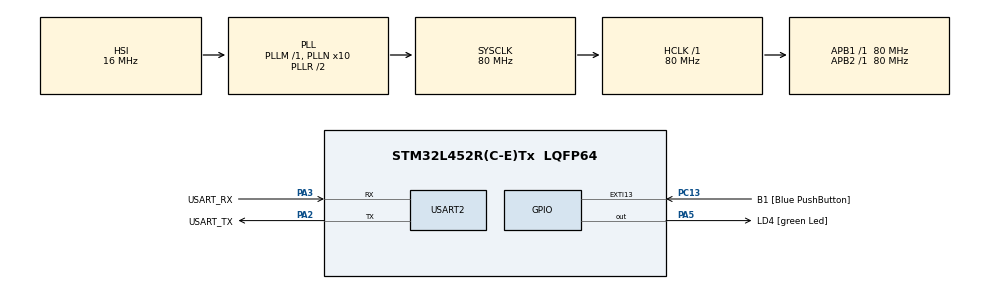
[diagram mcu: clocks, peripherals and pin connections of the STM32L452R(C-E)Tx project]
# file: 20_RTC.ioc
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Mcu.Family=STM32L4
Mcu.Name=STM32L452R(C-E)Tx
Mcu.Package=LQFP64
NVIC.PriorityGroup=NVIC_PRIORITYGROUP_4
PA13\ (JTMS/SWDIO).GPIO_Label=TMS
PA13\ (JTMS/SWDIO).Mode=Serial_Wire
PA13\ (JTMS/SWDIO).Signal=SYS_JTMS-SWDIO
PA14\ (JTCK/SWCLK).GPIO_Label=TCK
PA14\ (JTCK/SWCLK).Mode=Serial_Wire
PA14\ (JTCK/SWCLK).Signal=SYS_JTCK-SWCLK
PA2.GPIO_Label=USART_TX
PA2.GPIO_Mode=GPIO_MODE_AF_PP
PA2.GPIO_PuPd=GPIO_NOPULL
PA2.GPIO_Speed=GPIO_SPEED_FREQ_VERY_HIGH
PA2.Mode=Asynchronous
PA2.Signal=USART2_TX
PA3.GPIO_Label=USART_RX
PA3.GPIO_Mode=GPIO_MODE_AF_PP
PA3.GPIO_PuPd=GPIO_NOPULL
PA3.GPIO_Speed=GPIO_SPEED_FREQ_VERY_HIGH
PA3.Mode=Asynchronous
PA3.Signal=USART2_RX
PA5.GPIO_Label=LD4 [green Led]
PA5.GPIO_ModeDefaultOutputPP=GPIO_MODE_OUTPUT_PP
PA5.GPIO_PuPd=GPIO_NOPULL
PA5.GPIO_Speed=GPIO_SPEED_FREQ_LOW
PA5.Signal=GPIO_Output
PB3\ (JTDO/TRACESWO).GPIO_Label=SWO
PB3\ (JTDO/TRACESWO).Signal=SYS_JTDO-SWO
PC13.GPIO_Label=B1 [Blue PushButton]
PC13.GPIO_ModeDefaultEXTI=GPIO_MODE_IT_FALLING
PC13.GPIO_PuPd=GPIO_NOPULL
PC13.Signal=GPXTI13
PC14-OSC32_IN\ (PC14).Mode=LSE-External-Oscillator
PC14-OSC32_IN\ (PC14).Signal=RCC_OSC32_IN
PC15-OSC32_OUT\ (PC15).Mode=LSE-External-Oscillator
PC15-OSC32_OUT\ (PC15).Signal=RCC_OSC32_OUT
PH0-OSC_IN\ (PH0).Signal=RCC_OSC_IN
PH1-OSC_OUT\ (PH1).Signal=RCC_OSC_OUT
ProjectManager.HeapSize=0x200
ProjectManager.StackSize=0x400
ProjectManager.TargetToolchain=STM32CubeIDE
RCC.ADCFreq_Value=64000000
RCC.AHBFreq_Value=80000000
RCC.APB1Freq_Value=80000000
RCC.APB1TimFreq_Value=80000000
RCC.APB2Freq_Value=80000000
RCC.APB2TimFreq_Value=80000000
RCC.CortexFreq_Value=80000000
RCC.HCLKFreq_Value=80000000
RCC.HSE_VALUE=8000000
RCC.HSI48_VALUE=48000000
RCC.HSI_VALUE=16000000
RCC.MSI_VALUE=4000000
RCC.PLLN=10
RCC.PLLSourceVirtual=RCC_PLLSOURCE_HSI
RCC.PREFETCH_ENABLE=1
RCC.RTCClockSelection=RCC_RTCCLKSOURCE_LSE
RCC.SYSCLKFreq_VALUE=80000000
RCC.SYSCLKSource=RCC_SYSCLKSOURCE_PLLCLK
RCC.USBFreq_Value=64000000
RCC.VCOOutputFreq_Value=160000000
USART2.VirtualMode-Asynchronous=VM_ASYNC
VP_RTC_VS_RTC_Activate.Mode=RTC_Enabled
board=NUCLEO-L452RE

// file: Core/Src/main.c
/* USER CODE BEGIN Header */
/**
  ******************************************************************************
  * @file           : main.c
  * @brief          : Main program body
  ******************************************************************************
  * @attention
  *
  * Copyright (c) 2022 STMicroelectronics.
  * All rights reserved.
  *
  * This software is licensed under terms that can be found in the LICENSE file
  * in the root directory of this software component.
  * If no LICENSE file comes with this software, it is provided AS-IS.
  *
  ******************************************************************************
  */
/* USER CODE END Header */
#include "main.h"

/* USER CODE BEGIN Includes */
#include "stdio.h"

/* USER CODE END Includes */

RTC_HandleTypeDef hrtc;

UART_HandleTypeDef huart2;

void SystemClock_Config(void);
static void MX_GPIO_Init(void);
static void MX_USART2_UART_Init(void);
static void MX_RTC_Init(void);

int main(void)
{

  /* MCU Configuration--------------------------------------------------------*/

  /* Reset of all peripherals, Initializes the Flash interface and the Systick. */
  HAL_Init();

  /* Configure the system clock */
  SystemClock_Config();

  /* Initialize all configured peripherals */
  MX_GPIO_Init();
  MX_USART2_UART_Init();
  MX_RTC_Init();

  /* Infinite loop */
  /* USER CODE BEGIN WHILE */
  RTC_TimeTypeDef time_now =
  {
      .Hours = 21,
      .Minutes = 0,
      .Seconds = 0
  };
  RTC_DateTypeDef date_now =
  {
      .WeekDay = 5,
      .Month = 9,
      .Year = 22
  };
  char buf_time[80];
  char buf_date[80];
  unsigned buf_time_len;
  unsigned buf_date_len;

  HAL_RTC_SetDate(&hrtc, &date_now, RTC_FORMAT_BIN);
  HAL_RTC_SetTime(&hrtc, &time_now, RTC_FORMAT_BIN);

  while (1)
  {
    HAL_RTC_GetTime(&hrtc, &time_now,  RTC_FORMAT_BIN);
    HAL_RTC_GetDate(&hrtc, &date_now, RTC_FORMAT_BIN);

    buf_time_len = snprintf(buf_time, sizeof(buf_time),
        "%02u:%02u:%02u <--> ", time_now.Hours,
        time_now.Minutes, time_now.Seconds);

    buf_date_len = snprintf(buf_date, sizeof(buf_date),
            "%02u/%02u/%02u\n\r", date_now.WeekDay,
            date_now.Month, date_now.Year);

    HAL_UART_Transmit(&huart2, (uint8_t *)buf_time, buf_time_len, 100);
    HAL_UART_Transmit(&huart2, (uint8_t *)buf_date, buf_date_len, 100);

    HAL_Delay(1000);
    /* USER CODE END WHILE */

  }
}

void SystemClock_Config(void)
{
  RCC_OscInitTypeDef RCC_OscInitStruct = {0};
  RCC_ClkInitTypeDef RCC_ClkInitStruct = {0};

  /** Configure the main internal regulator output voltage
  */
  if (HAL_PWREx_ControlVoltageScaling(PWR_REGULATOR_VOLTAGE_SCALE1) != HAL_OK)
  {
    Error_Handler();
  }

  /** Configure LSE Drive Capability
  */
  HAL_PWR_EnableBkUpAccess();
  __HAL_RCC_LSEDRIVE_CONFIG(RCC_LSEDRIVE_LOW);

  /** Initializes the RCC Oscillators according to the specified parameters
  * in the RCC_OscInitTypeDef structure.
  */
  RCC_OscInitStruct.OscillatorType = RCC_OSCILLATORTYPE_HSI|RCC_OSCILLATORTYPE_LSE;
  RCC_OscInitStruct.LSEState = RCC_LSE_ON;
  RCC_OscInitStruct.HSIState = RCC_HSI_ON;
  RCC_OscInitStruct.HSICalibrationValue = RCC_HSICALIBRATION_DEFAULT;
  RCC_OscInitStruct.PLL.PLLState = RCC_PLL_ON;
  RCC_OscInitStruct.PLL.PLLSource = RCC_PLLSOURCE_HSI;
  RCC_OscInitStruct.PLL.PLLM = 1;
  RCC_OscInitStruct.PLL.PLLN = 10;
  RCC_OscInitStruct.PLL.PLLP = RCC_PLLP_DIV7;
  RCC_OscInitStruct.PLL.PLLQ = RCC_PLLQ_DIV2;
  RCC_OscInitStruct.PLL.PLLR = RCC_PLLR_DIV2;
  if (HAL_RCC_OscConfig(&RCC_OscInitStruct) != HAL_OK)
  {
    Error_Handler();
  }

  /** Initializes the CPU, AHB and APB buses clocks
  */
  RCC_ClkInitStruct.ClockType = RCC_CLOCKTYPE_HCLK|RCC_CLOCKTYPE_SYSCLK
                              |RCC_CLOCKTYPE_PCLK1|RCC_CLOCKTYPE_PCLK2;
  RCC_ClkInitStruct.SYSCLKSource = RCC_SYSCLKSOURCE_PLLCLK;
  RCC_ClkInitStruct.AHBCLKDivider = RCC_SYSCLK_DIV1;
  RCC_ClkInitStruct.APB1CLKDivider = RCC_HCLK_DIV1;
  RCC_ClkInitStruct.APB2CLKDivider = RCC_HCLK_DIV1;

  if (HAL_RCC_ClockConfig(&RCC_ClkInitStruct, FLASH_LATENCY_4) != HAL_OK)
  {
    Error_Handler();
  }
}

static void MX_RTC_Init(void)
{

  /** Initialize RTC Only
  */
  hrtc.Instance = RTC;
  hrtc.Init.HourFormat = RTC_HOURFORMAT_24;
  hrtc.Init.AsynchPrediv = 127;
  hrtc.Init.SynchPrediv = 255;
  hrtc.Init.OutPut = RTC_OUTPUT_DISABLE;
  hrtc.Init.OutPutRemap = RTC_OUTPUT_REMAP_NONE;
  hrtc.Init.OutPutPolarity = RTC_OUTPUT_POLARITY_HIGH;
  hrtc.Init.OutPutType = RTC_OUTPUT_TYPE_OPENDRAIN;
  if (HAL_RTC_Init(&hrtc) != HAL_OK)
  {
    Error_Handler();
  }

}

static void MX_USART2_UART_Init(void)
{

  huart2.Instance = USART2;
  huart2.Init.BaudRate = 115200;
  huart2.Init.WordLength = UART_WORDLENGTH_8B;
  huart2.Init.StopBits = UART_STOPBITS_1;
  huart2.Init.Parity = UART_PARITY_NONE;
  huart2.Init.Mode = UART_MODE_TX_RX;
  huart2.Init.HwFlowCtl = UART_HWCONTROL_NONE;
  huart2.Init.OverSampling = UART_OVERSAMPLING_16;
  huart2.Init.OneBitSampling = UART_ONE_BIT_SAMPLE_DISABLE;
  huart2.AdvancedInit.AdvFeatureInit = UART_ADVFEATURE_NO_INIT;
  if (HAL_UART_Init(&huart2) != HAL_OK)
  {
    Error_Handler();
  }

}

static void MX_GPIO_Init(void)
{
  GPIO_InitTypeDef GPIO_InitStruct = {0};

  /* GPIO Ports Clock Enable */
  __HAL_RCC_GPIOC_CLK_ENABLE();
  __HAL_RCC_GPIOH_CLK_ENABLE();
  __HAL_RCC_GPIOA_CLK_ENABLE();
  __HAL_RCC_GPIOB_CLK_ENABLE();

  /*Configure GPIO pin Output Level */
  HAL_GPIO_WritePin(LD4_GPIO_Port, LD4_Pin, GPIO_PIN_RESET);

  /*Configure GPIO pin : B1_Pin */
  GPIO_InitStruct.Pin = B1_Pin;
  GPIO_InitStruct.Mode = GPIO_MODE_IT_FALLING;
  GPIO_InitStruct.Pull = GPIO_NOPULL;
  HAL_GPIO_Init(B1_GPIO_Port, &GPIO_InitStruct);

  /*Configure GPIO pin : LD4_Pin */
  GPIO_InitStruct.Pin = LD4_Pin;
  GPIO_InitStruct.Mode = GPIO_MODE_OUTPUT_PP;
  GPIO_InitStruct.Pull = GPIO_NOPULL;
  GPIO_InitStruct.Speed = GPIO_SPEED_FREQ_LOW;
  HAL_GPIO_Init(LD4_GPIO_Port, &GPIO_InitStruct);

}

void Error_Handler(void)
{
  __disable_irq();
  while (1)
  {
  }
}
